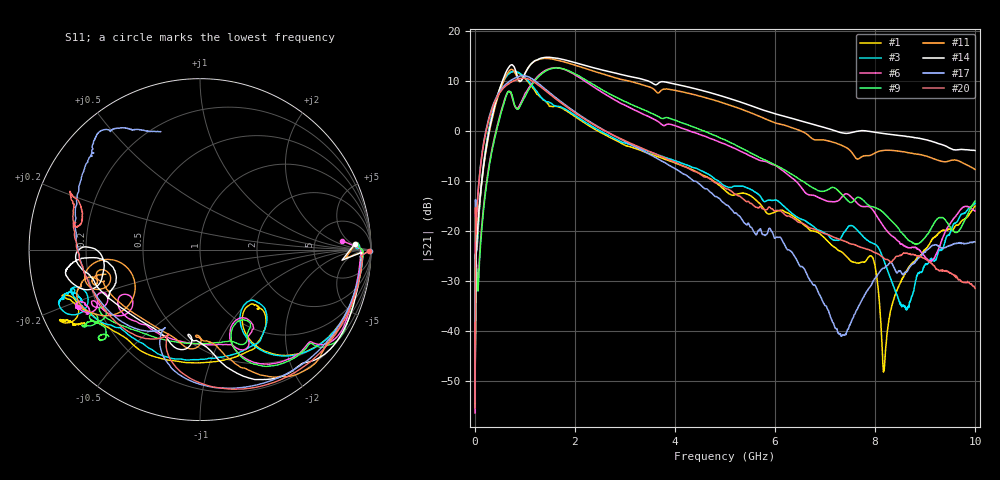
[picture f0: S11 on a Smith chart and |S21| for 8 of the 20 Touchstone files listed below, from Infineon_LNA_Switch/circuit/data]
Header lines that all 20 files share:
!Agilent Technologies,E5071C,MY46316587,B.13.01
!Data & Calibration Information:
!Freq	S11:SOLT2(ON)	S21:SOLT2(ON)	S12:SOLT2(ON)	S22:SOLT2(ON)
!PortZ  Port1:50+j0  Port2:50+j0
!Above PortZ is port z conversion or system Z0 setting when saving the data.
!When reading, reference impedance value at option line is always used.
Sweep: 300 kHz to 10 GHz
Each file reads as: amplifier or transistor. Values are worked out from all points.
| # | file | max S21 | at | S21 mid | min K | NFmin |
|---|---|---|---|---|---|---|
| 1 | BGM12LBA9_RX1_2P8V_HG.S2P | 11.9 dB | 775.3 MHz | -11.9 dB at 5 GHz | 1.23 | 0.69 dB |
| 2 | BGM12LBA9_RX2_1P8V_HG.S2P | 11.7 dB | 775.3 MHz | -11.2 dB at 5 GHz | 1.19 | 0.67 dB |
| 3 | BGM12LBA9_RX2_2P8V_HG.S2P | 11.9 dB | 787.8 MHz | -11.0 dB at 5 GHz | 1.21 | 0.68 dB |
| 4 | BGM13GBA9_RX1_1P8V_HG.S2P | 12.5 dB | 1.63 GHz | -2.6 dB at 5 GHz | 1.25 | 0.67 dB |
| 5 | BGM13GBA9_RX1_2P8V_HG.S2P | 12.7 dB | 1.63 GHz | -2.4 dB at 5 GHz | 1.29 | 0.68 dB |
| 6 | BGM13GBA9_RX2_1P8V_HG.S2P | 12.6 dB | 1.6 GHz | -2.6 dB at 5 GHz | 1.28 | 0.67 dB |
| 7 | BGM13GBA9_RX2_2P8V_HG.S2P | 12.8 dB | 1.63 GHz | -2.4 dB at 5 GHz | 1.31 | 0.68 dB |
| 8 | BGM13GBA9_RX3_1P8V_HG.S2P | 12.4 dB | 1.63 GHz | -2.0 dB at 5 GHz | 1.10 | 0.62 dB |
| 9 | BGM13GBA9_RX3_2P8V_HG.S2P | 12.6 dB | 1.63 GHz | -1.8 dB at 5 GHz | 1.27 | 0.63 dB |
| 10 | BGM13HBA9_RX1_1P8V_HG.S2P | 14.2 dB | 1.42 GHz | 5.2 dB at 5 GHz | 1.24 | 0.75 dB |
| 11 | BGM13HBA9_RX1_2P8V_HG.S2P | 14.5 dB | 1.37 GHz | 5.5 dB at 5 GHz | 1.18 | 0.76 dB |
| 12 | BGM13HBA9_RX2_1P8V_HG.S2P | 14.7 dB | 1.46 GHz | 5.8 dB at 5 GHz | 1.36 | 0.75 dB |
| 13 | BGM13HBA9_RX2_2P8V_HG.S2P | 14.9 dB | 1.46 GHz | 6.1 dB at 5 GHz | 1.35 | 0.76 dB |
| 14 | BGM13HBA9_RX3_1P8V_HG.S2P | 14.7 dB | 1.46 GHz | 6.7 dB at 5 GHz | 0.87 | 0.74 dB |
| 15 | BGM13HBA9_RX3_2P8V_HG.S2P | 14.9 dB | 1.46 GHz | 7.0 dB at 5 GHz | 0.82 | 0.74 dB |
| 16 | BGM15LBA12_RX1_1P8V_HG.S2P | 10.7 dB | 970.3 MHz | -14.7 dB at 5 GHz | 1.13 | 1.06 dB |
| 17 | BGM15LBA12_RX1_2P8V_HG.S2P | 11.0 dB | 970.3 MHz | -14.6 dB at 5 GHz | 1.15 | 1.07 dB |
| 18 | BGM15LBA12_RX2_1P8V_HG.S2P | 10.4 dB | 970.3 MHz | -12.6 dB at 5 GHz | 1.22 | 1.08 dB |
| 19 | BGM15LBA12_RX2_2P8V_HG.S2P | 10.7 dB | 970.3 MHz | -12.5 dB at 5 GHz | 1.24 | 1.09 dB |
| 20 | BGM15LBA12_RX3_1P8V_HG.S2P | 10.5 dB | 970.3 MHz | -11.4 dB at 5 GHz | 1.24 | 1.05 dB |
